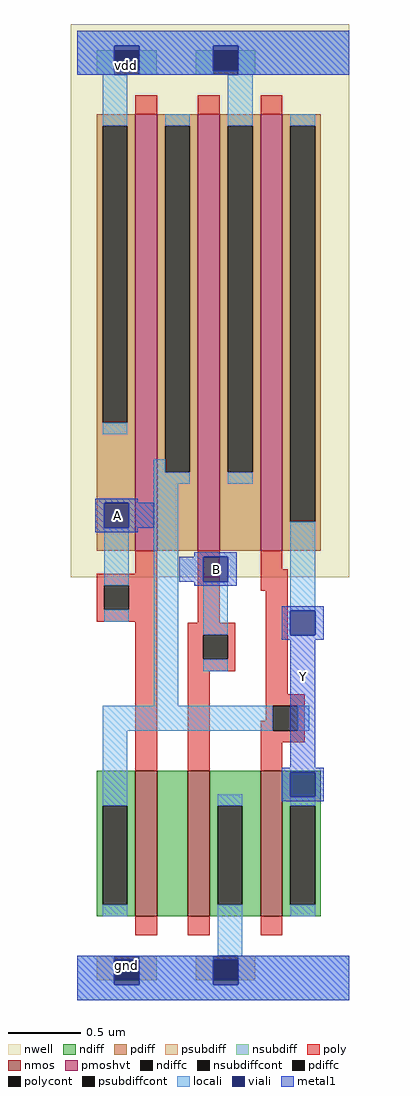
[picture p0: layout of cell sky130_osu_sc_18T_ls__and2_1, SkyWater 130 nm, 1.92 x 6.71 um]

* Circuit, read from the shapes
.subckt sky130_osu_sc_18T_ls__and2_1 Y A B
XM1 n1 A n2 gnd sky130_fd_pr__nfet_01v8 w=1 l=0.15
XM2 gnd B n1 gnd sky130_fd_pr__nfet_01v8 w=1 l=0.15
XM3 Y n2 gnd gnd sky130_fd_pr__nfet_01v8 w=1 l=0.15
XM4 n2 A vdd vdd sky130_fd_pr__pfet_01v8_hvt w=3 l=0.15
XM5 vdd B n2 vdd sky130_fd_pr__pfet_01v8_hvt w=3 l=0.15
XM6 Y n2 vdd vdd sky130_fd_pr__pfet_01v8_hvt w=3 l=0.15
.ends

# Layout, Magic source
magic
tech sky130A
magscale 1 2
<< nwell >>
rect -9 581 374 1341
<< nmos >>
rect 80 115 110 315
rect 152 115 182 315
rect 252 115 282 315
<< pmoshvt >>
rect 80 617 110 1217
rect 166 617 196 1217
rect 252 617 282 1217
<< ndiff >>
rect 27 267 80 315
rect 27 131 35 267
rect 69 131 80 267
rect 27 115 80 131
rect 110 115 152 315
rect 182 267 252 315
rect 182 131 193 267
rect 227 131 252 267
rect 182 115 252 131
rect 282 267 335 315
rect 282 131 293 267
rect 327 131 335 267
rect 282 115 335 131
<< pdiff >>
rect 27 1201 80 1217
rect 27 793 35 1201
rect 69 793 80 1201
rect 27 617 80 793
rect 110 1201 166 1217
rect 110 725 121 1201
rect 155 725 166 1201
rect 110 617 166 725
rect 196 1201 252 1217
rect 196 725 207 1201
rect 241 725 252 1201
rect 196 617 252 725
rect 282 1201 335 1217
rect 282 657 293 1201
rect 327 657 335 1201
rect 282 617 335 657
<< ndiffc >>
rect 35 131 69 267
rect 193 131 227 267
rect 293 131 327 267
<< pdiffc >>
rect 35 793 69 1201
rect 121 725 155 1201
rect 207 725 241 1201
rect 293 657 327 1201
<< psubdiff >>
rect 27 27 51 61
rect 85 27 109 61
rect 163 27 187 61
rect 221 27 245 61
<< nsubdiff >>
rect 27 1271 51 1305
rect 85 1271 109 1305
rect 163 1271 187 1305
rect 221 1271 245 1305
<< psubdiffcont >>
rect 51 27 85 61
rect 187 27 221 61
<< nsubdiffcont >>
rect 51 1271 85 1305
rect 187 1271 221 1305
<< poly >>
rect 80 1217 110 1243
rect 166 1217 196 1243
rect 252 1217 282 1243
rect 80 586 110 617
rect 27 570 110 586
rect 27 536 37 570
rect 71 536 110 570
rect 27 520 110 536
rect 80 315 110 520
rect 166 518 196 617
rect 252 592 282 617
rect 252 562 289 592
rect 152 502 217 518
rect 152 468 173 502
rect 207 468 217 502
rect 152 452 217 468
rect 152 315 182 452
rect 259 420 289 562
rect 259 404 313 420
rect 259 384 269 404
rect 252 370 269 384
rect 303 370 313 404
rect 252 354 313 370
rect 252 315 282 354
rect 80 89 110 115
rect 152 89 182 115
rect 252 89 282 115
<< polycont >>
rect 37 536 71 570
rect 173 468 207 502
rect 269 370 303 404
<< locali >>
rect 0 1311 374 1332
rect 0 1271 51 1311
rect 85 1271 187 1311
rect 221 1271 374 1311
rect 35 1201 69 1271
rect 35 777 69 793
rect 121 1201 155 1217
rect 105 725 121 743
rect 105 709 155 725
rect 207 1201 241 1271
rect 207 709 241 725
rect 293 1201 327 1217
rect 37 570 71 649
rect 37 520 71 536
rect 105 404 139 709
rect 173 502 207 575
rect 293 535 327 657
rect 173 452 207 468
rect 35 370 269 404
rect 303 370 319 404
rect 35 267 69 370
rect 35 115 69 131
rect 193 267 227 283
rect 193 61 227 131
rect 293 267 327 279
rect 293 115 327 131
rect 0 21 51 61
rect 85 21 187 61
rect 221 21 374 61
rect 0 0 374 21
<< viali >>
rect 51 1305 85 1311
rect 51 1277 85 1305
rect 187 1305 221 1311
rect 187 1277 221 1305
rect 37 649 71 683
rect 173 575 207 609
rect 293 501 327 535
rect 293 279 327 313
rect 51 27 85 55
rect 51 21 85 27
rect 187 27 221 55
rect 187 21 221 27
<< metal1 >>
rect 0 1311 374 1332
rect 0 1277 51 1311
rect 85 1277 187 1311
rect 221 1277 374 1311
rect 0 1271 374 1277
rect 25 683 83 689
rect 25 649 37 683
rect 71 649 105 683
rect 25 643 83 649
rect 161 609 219 615
rect 140 575 173 609
rect 207 575 219 609
rect 161 569 219 575
rect 281 535 339 541
rect 281 501 293 535
rect 327 501 339 535
rect 281 495 339 501
rect 293 319 327 495
rect 281 313 339 319
rect 281 279 293 313
rect 327 279 339 313
rect 281 273 339 279
rect 0 55 374 61
rect 0 21 51 55
rect 85 21 187 55
rect 221 21 374 55
rect 0 0 374 21
<< labels >>
rlabel metal1 311 444 311 444 1 Y
port 1 n
rlabel metal1 55 666 55 666 1 A
port 2 n
rlabel metal1 191 592 191 592 1 B
port 3 n
rlabel viali 68 48 68 48 1 gnd
rlabel viali 68 1284 68 1284 1 vdd
<< end >>
